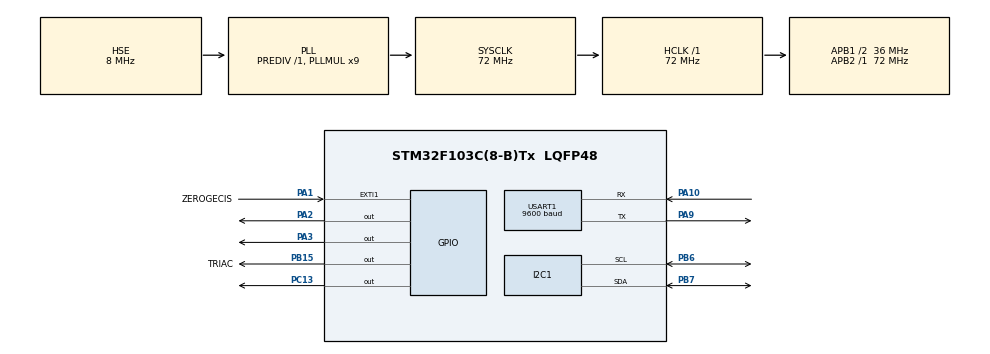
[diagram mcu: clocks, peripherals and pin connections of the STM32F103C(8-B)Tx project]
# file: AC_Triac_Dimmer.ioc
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Dma.Request0=USART1_RX
Dma.USART1_RX.0.Direction=DMA_PERIPH_TO_MEMORY
Dma.USART1_RX.0.Instance=DMA1_Channel5
Dma.USART1_RX.0.MemDataAlignment=DMA_MDATAALIGN_BYTE
Dma.USART1_RX.0.MemInc=DMA_MINC_ENABLE
Dma.USART1_RX.0.Mode=DMA_NORMAL
Dma.USART1_RX.0.PeriphDataAlignment=DMA_PDATAALIGN_BYTE
Dma.USART1_RX.0.PeriphInc=DMA_PINC_DISABLE
Dma.USART1_RX.0.Priority=DMA_PRIORITY_LOW
Mcu.Family=STM32F1
Mcu.Name=STM32F103C(8-B)Tx
Mcu.Package=LQFP48
NVIC.DMA1_Channel5_IRQn=true\:0\:0\:false\:false\:true\:false\:true\:true
NVIC.EXTI1_IRQn=true\:0\:0\:false\:false\:true\:true\:true\:true
NVIC.PriorityGroup=NVIC_PRIORITYGROUP_4
PA1.GPIO_Label=ZEROGECIS
PA1.Signal=GPXTI1
PA10.Mode=Asynchronous
PA10.Signal=USART1_RX
PA13.Mode=Serial_Wire
PA13.Signal=SYS_JTMS-SWDIO
PA14.Mode=Serial_Wire
PA14.Signal=SYS_JTCK-SWCLK
PA2.Signal=GPIO_Output
PA3.Signal=GPIO_Output
PA9.Mode=Asynchronous
PA9.Signal=USART1_TX
PB15.GPIO_Label=TRIAC
PB15.Signal=GPIO_Output
PB6.Mode=I2C
PB6.Signal=I2C1_SCL
PB7.Mode=I2C
PB7.Signal=I2C1_SDA
PC13-TAMPER-RTC.Signal=GPIO_Output
PD0-OSC_IN.Mode=HSE-External-Oscillator
PD0-OSC_IN.Signal=RCC_OSC_IN
PD1-OSC_OUT.Mode=HSE-External-Oscillator
PD1-OSC_OUT.Signal=RCC_OSC_OUT
ProjectManager.HeapSize=0x200
ProjectManager.StackSize=0x400
ProjectManager.TargetToolchain=STM32CubeIDE
RCC.AHBFreq_Value=72000000
RCC.APB1CLKDivider=RCC_HCLK_DIV2
RCC.APB1Freq_Value=36000000
RCC.APB1TimFreq_Value=72000000
RCC.APB2Freq_Value=72000000
RCC.APB2TimFreq_Value=72000000
RCC.HCLKFreq_Value=72000000
RCC.PLLMUL=RCC_PLL_MUL9
RCC.PLLSourceVirtual=RCC_PLLSOURCE_HSE
RCC.SYSCLKFreq_VALUE=72000000
RCC.SYSCLKSource=RCC_SYSCLKSOURCE_PLLCLK
RCC.USBFreq_Value=72000000
TIM1.Period=0xffff-1
TIM1.Prescaler=72-1
TIM2.Channel-Output\ Compare1\ No\ Output=TIM_CHANNEL_1
TIM2.Channel-Output\ Compare2\ No\ Output=TIM_CHANNEL_2
TIM2.Period=0xffff-1
TIM2.Prescaler=72-1
TIM2.Pulse-Output\ Compare1\ No\ Output=0
TIM2.Pulse-Output\ Compare2\ No\ Output=100
USART1.BaudRate=9600
USART1.VirtualMode=VM_ASYNC
VP_TIM1_VS_ClockSourceINT.Mode=Internal
VP_TIM1_VS_ClockSourceITR.Mode=TriggerSource_ITR0
VP_TIM2_VS_ClockSourceINT.Mode=Internal
VP_TIM2_VS_ClockSourceITR.Mode=TriggerSource_ITR2
VP_TIM2_VS_no_output1.Mode=Output Compare1 No Output
VP_TIM2_VS_no_output2.Mode=Output Compare2 No Output
board=custom

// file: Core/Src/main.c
/* USER CODE BEGIN Header */
/**
  ******************************************************************************
  * @file           : main.c
  * @brief          : Main program body
  ******************************************************************************
  * @attention
  *
  * Copyright (c) 2023 STMicroelectronics.
  * All rights reserved.
  *
  * This software is licensed under terms that can be found in the LICENSE file
  * in the root directory of this software component.
  * If no LICENSE file comes with this software, it is provided AS-IS.
  *
  ******************************************************************************
  */
/* USER CODE END Header */
#include "main.h"

/* USER CODE BEGIN Includes */
#include "stdio.h"
#include "string.h"
#include "BME280_STM32.h"
#include "pid.h"
/* USER CODE END Includes */

I2C_HandleTypeDef hi2c1;

TIM_HandleTypeDef htim1;
TIM_HandleTypeDef htim2;

UART_HandleTypeDef huart1;
DMA_HandleTypeDef hdma_usart1_rx;

/* USER CODE BEGIN PV */
uint32_t Value_Triac=500;
char Flag=0;

/* USER CODE END PV */

void SystemClock_Config(void);
static void MX_GPIO_Init(void);
static void MX_DMA_Init(void);
static void MX_TIM2_Init(void);
static void MX_I2C1_Init(void);
static void MX_USART1_UART_Init(void);
static void MX_TIM1_Init(void);

/* USER CODE BEGIN 0 */
void delay_us (uint16_t us)
{
	__HAL_TIM_SET_COUNTER(&htim1,0);  // set the counter value a 0
	while (__HAL_TIM_GET_COUNTER(&htim1) < us);  // wait for the counter to reach the us input in the parameter
}

void delay (uint16_t us)
{
	__HAL_TIM_SET_COUNTER(&htim2,0);  // set the counter value a 0
	while (__HAL_TIM_GET_COUNTER(&htim2) < us);  // wait for the counter to reach the us input in the parameter
}

PID_TypeDef TPID;

double Temp, PIDOut, TempSetpoint;

float Temperature, Pressure, Humidity;

uint8_t Cmd_End[3] = {0xFF,0xFF,0xFF};  // command end sequence
char MSG[40] = {0};
void NEXTION_SendString (char *ID, char *string)
{
	char buf[50];
	int len = sprintf (buf, "%s.txt=\"%s\"", ID, string);
	HAL_UART_Transmit(&huart1, (uint8_t *)buf, len, 1000);
	HAL_UART_Transmit(&huart1, Cmd_End, 3, 100);
}

uint8_t Rh_byte1, Rh_byte2, Temp_byte1, Temp_byte2;
uint16_t SUM, RH, TEMP;

float Temperature2 = 0;
float Humidity2 = 0;
uint8_t Presence = 0;

double secilen_Temp=25;
uint16_t deger2=9350;
uint16_t triacDeger=9400;
double art=0.1;
double art_1=1;
double art_5=5;

float yuzey_Sicaklik;
float ortam_Sicaklik;

float fark=0;

void Set_Pin_Output (GPIO_TypeDef *GPIOx, uint16_t GPIO_Pin)
{
	GPIO_InitTypeDef GPIO_InitStruct = {0};
	GPIO_InitStruct.Pin = GPIO_Pin;
	GPIO_InitStruct.Mode = GPIO_MODE_OUTPUT_PP;
	GPIO_InitStruct.Speed = GPIO_SPEED_FREQ_LOW;
	HAL_GPIO_Init(GPIOx, &GPIO_InitStruct);
}

void Set_Pin_Input (GPIO_TypeDef *GPIOx, uint16_t GPIO_Pin)
{
	GPIO_InitTypeDef GPIO_InitStruct = {0};
	GPIO_InitStruct.Pin = GPIO_Pin;
	GPIO_InitStruct.Mode = GPIO_MODE_INPUT;
	GPIO_InitStruct.Pull = GPIO_PULLUP;
	HAL_GPIO_Init(GPIOx, &GPIO_InitStruct);
}

/*********************************** DS18B20 FUNCTIONS ****************************************/

#define DS18B20_PORT GPIOA
#define DS18B20_PIN GPIO_PIN_3

uint8_t DS18B20_Start (void)
{
	uint8_t Response = 0;
	Set_Pin_Output(DS18B20_PORT, DS18B20_PIN);   // set the pin as output
	HAL_GPIO_WritePin (DS18B20_PORT, DS18B20_PIN, 0);  // pull the pin low
	delay (480);   // delay according to datasheet

	Set_Pin_Input(DS18B20_PORT, DS18B20_PIN);    // set the pin as input
	delay (80);    // delay according to datasheet

	if (!(HAL_GPIO_ReadPin (DS18B20_PORT, DS18B20_PIN))) Response = 1;    // if the pin is low i.e the presence pulse is detected
	else Response = -1;

	delay (400); // 480 us delay totally.

	return Response;
}

void DS18B20_Write (uint8_t data)
{
	Set_Pin_Output(DS18B20_PORT, DS18B20_PIN);  // set as output

	for (int i=0; i<8; i++)
	{

		if ((data & (1<<i))!=0)  // if the bit is high
		{
			// write 1

			Set_Pin_Output(DS18B20_PORT, DS18B20_PIN);  // set as output
			HAL_GPIO_WritePin (DS18B20_PORT, DS18B20_PIN, 0);  // pull the pin LOW
			delay (1);  // wait for 1 us

			Set_Pin_Input(DS18B20_PORT, DS18B20_PIN);  // set as input
			delay (50);  // wait for 60 us
		}

		else  // if the bit is low
		{
			// write 0

			Set_Pin_Output(DS18B20_PORT, DS18B20_PIN);
			HAL_GPIO_WritePin (DS18B20_PORT, DS18B20_PIN, 0);  // pull the pin LOW
			delay (50);  // wait for 60 us

			Set_Pin_Input(DS18B20_PORT, DS18B20_PIN);
		}
	}
}

uint8_t DS18B20_Read (void)
{
	uint8_t value=0;

	Set_Pin_Input(DS18B20_PORT, DS18B20_PIN);

	for (int i=0;i<8;i++)
	{
		Set_Pin_Output(DS18B20_PORT, DS18B20_PIN);   // set as output

		HAL_GPIO_WritePin (DS18B20_PORT, DS18B20_PIN, 0);  // pull the data pin LOW
		delay (1);  // wait for > 1us

		Set_Pin_Input(DS18B20_PORT, DS18B20_PIN);  // set as input
		if (HAL_GPIO_ReadPin (DS18B20_PORT, DS18B20_PIN))  // if the pin is HIGH
		{
			value |= 1<<i;  // read = 1
		}
		delay (50);  // wait for 60 us
	}
	return value;
}

uint8_t Rx_Data[5];

void verileri_oku(void)
{
	  //BME280_Measure();
	  	  HAL_Delay (20);

		  /********************* DS18B20 *******************/

		  	  Presence = DS18B20_Start ();
		  	  HAL_Delay (1);
		  	  DS18B20_Write (0xCC);  // skip ROM
		  	  DS18B20_Write (0x44);  // convert t
		  	  HAL_Delay (100);

		  	  Presence = DS18B20_Start ();
		        HAL_Delay(1);
		        DS18B20_Write (0xCC);  // skip ROM
		        DS18B20_Write (0xBE);  // Read Scratch-pad

		        Temp_byte1 = DS18B20_Read();
		  	  Temp_byte2 = DS18B20_Read();
		  	  TEMP = (Temp_byte2<<8)|Temp_byte1;
		  	  Temperature2 = (float)TEMP/16;
		  	HAL_Delay(50);
		  	  if(Temperature2<100)
		  	  {
		  		  yuzey_Sicaklik=Temperature2;
		  	  }
		  	  ortam_Sicaklik =Temperature;
		//  	deger = Temperature2;
		  	HAL_Delay(30);

			  	  sprintf(MSG,"%.3f C",yuzey_Sicaklik);
			  		 	  	 NEXTION_SendString("t0", MSG);

		  		 	  	 sprintf(MSG,"%.3f",secilen_Temp);
		  		 	     NEXTION_SendString("t1", MSG);
		  		 	  	 HAL_Delay(20);
}

void HAL_UART_RxCpltCallback(UART_HandleTypeDef *huart)
{

	  if (Rx_Data[2] == 0x09) secilen_Temp=secilen_Temp-art;
	  if (Rx_Data[2] == 0x0A)secilen_Temp=secilen_Temp+art;
	  if (Rx_Data[2] == 0x07) secilen_Temp=secilen_Temp-art_1;
	  if (Rx_Data[2] == 0x08)secilen_Temp=secilen_Temp+art_1;
	  if (Rx_Data[2] == 0x04) secilen_Temp=secilen_Temp-art_5;
	  if (Rx_Data[2] == 0x02)secilen_Temp=secilen_Temp+art_5;
	  if (Rx_Data[2] == 0x05) // if the dual state button is pressed
	  {
		  TempSetpoint = secilen_Temp;
	  }

	  HAL_UART_Receive_DMA(&huart1, Rx_Data, 5);

	//  verileri_oku();
  	  if(ortam_Sicaklik!=0)
	  	  {
		  	  sprintf(MSG,"%.3f C",Temperature2);
		  		 	  	 NEXTION_SendString("t0", MSG);
	  	  }

	  		 	  	 sprintf(MSG,"%.3f",secilen_Temp);
	  		 	     NEXTION_SendString("t1", MSG);

}

/* USER CODE END 0 */

int main(void)
{

  /* MCU Configuration--------------------------------------------------------*/

  /* Reset of all peripherals, Initializes the Flash interface and the Systick. */
  HAL_Init();

  /* Configure the system clock */
  SystemClock_Config();

  /* Initialize all configured peripherals */
  MX_GPIO_Init();
  MX_DMA_Init();
  MX_TIM2_Init();
  MX_I2C1_Init();
  MX_USART1_UART_Init();
  MX_TIM1_Init();
  /* USER CODE BEGIN 2 */
  HAL_TIM_Base_Start(&htim1);
  HAL_TIM_Base_Start(&htim2);
   HAL_UART_Receive_DMA(&huart1, Rx_Data, 5);

   BME280_Config(OSRS_2, OSRS_16, OSRS_1, MODE_NORMAL, T_SB_0p5, IIR_16);
	  HAL_Delay (200);
 // HAL_TIMEx_OCN_Start_IT(&htim2, HAL_TIM_ACTIVE_CHANNEL_1);
 // HAL_TIMEx_OCN_Start_IT(&htim2, HAL_TIM_ACTIVE_CHANNEL_2);

   // Your temp setpoint
     TempSetpoint = 25;

     PID(&TPID, &Temp, &PIDOut, &TempSetpoint, 144.55, 27.74, 502.12, _PID_P_ON_E, _PID_CD_DIRECT);// 144,55 27,74 kd 502.12
//PID(PID_TypeDef *uPID, double *Input, double *Output, double *Setpoint, double Kp, double Ki, double Kd, PIDPON_TypeDef POn, PIDCD_TypeDef ControllerDirection);

     PID_SetMode(&TPID, _PID_MODE_AUTOMATIC);
     PID_SetSampleTime(&TPID, 50);
     PID_SetOutputLimits(&TPID, 350, 8500);

  /* USER CODE END 2 */

  /* Infinite loop */
  while (1)
  {

    /* USER CODE BEGIN 3 */
	  verileri_oku();

	 Temp = yuzey_Sicaklik;

	  PID_Compute(&TPID);

	triacDeger =	deger2 - (uint16_t)PIDOut;
	  HAL_UART_Receive(&huart1, Rx_Data, 5, 1000);
  	  HAL_Delay (30);

	   }
  /* USER CODE END 3 */
}

void SystemClock_Config(void)
{
  RCC_OscInitTypeDef RCC_OscInitStruct = {0};
  RCC_ClkInitTypeDef RCC_ClkInitStruct = {0};

  /** Initializes the RCC Oscillators according to the specified parameters
  * in the RCC_OscInitTypeDef structure.
  */
  RCC_OscInitStruct.OscillatorType = RCC_OSCILLATORTYPE_HSE;
  RCC_OscInitStruct.HSEState = RCC_HSE_ON;
  RCC_OscInitStruct.HSEPredivValue = RCC_HSE_PREDIV_DIV1;
  RCC_OscInitStruct.HSIState = RCC_HSI_ON;
  RCC_OscInitStruct.PLL.PLLState = RCC_PLL_ON;
  RCC_OscInitStruct.PLL.PLLSource = RCC_PLLSOURCE_HSE;
  RCC_OscInitStruct.PLL.PLLMUL = RCC_PLL_MUL9;
  if (HAL_RCC_OscConfig(&RCC_OscInitStruct) != HAL_OK)
  {
    Error_Handler();
  }

  /** Initializes the CPU, AHB and APB buses clocks
  */
  RCC_ClkInitStruct.ClockType = RCC_CLOCKTYPE_HCLK|RCC_CLOCKTYPE_SYSCLK
                              |RCC_CLOCKTYPE_PCLK1|RCC_CLOCKTYPE_PCLK2;
  RCC_ClkInitStruct.SYSCLKSource = RCC_SYSCLKSOURCE_PLLCLK;
  RCC_ClkInitStruct.AHBCLKDivider = RCC_SYSCLK_DIV1;
  RCC_ClkInitStruct.APB1CLKDivider = RCC_HCLK_DIV2;
  RCC_ClkInitStruct.APB2CLKDivider = RCC_HCLK_DIV1;

  if (HAL_RCC_ClockConfig(&RCC_ClkInitStruct, FLASH_LATENCY_2) != HAL_OK)
  {
    Error_Handler();
  }
}

static void MX_I2C1_Init(void)
{

  hi2c1.Instance = I2C1;
  hi2c1.Init.ClockSpeed = 100000;
  hi2c1.Init.DutyCycle = I2C_DUTYCYCLE_2;
  hi2c1.Init.OwnAddress1 = 0;
  hi2c1.Init.AddressingMode = I2C_ADDRESSINGMODE_7BIT;
  hi2c1.Init.DualAddressMode = I2C_DUALADDRESS_DISABLE;
  hi2c1.Init.OwnAddress2 = 0;
  hi2c1.Init.GeneralCallMode = I2C_GENERALCALL_DISABLE;
  hi2c1.Init.NoStretchMode = I2C_NOSTRETCH_DISABLE;
  if (HAL_I2C_Init(&hi2c1) != HAL_OK)
  {
    Error_Handler();
  }

}

static void MX_TIM1_Init(void)
{

  TIM_ClockConfigTypeDef sClockSourceConfig = {0};
  TIM_SlaveConfigTypeDef sSlaveConfig = {0};
  TIM_MasterConfigTypeDef sMasterConfig = {0};

  htim1.Instance = TIM1;
  htim1.Init.Prescaler = 72-1;
  htim1.Init.CounterMode = TIM_COUNTERMODE_UP;
  htim1.Init.Period = 0xffff-1;
  htim1.Init.ClockDivision = TIM_CLOCKDIVISION_DIV1;
  htim1.Init.RepetitionCounter = 0;
  htim1.Init.AutoReloadPreload = TIM_AUTORELOAD_PRELOAD_DISABLE;
  if (HAL_TIM_Base_Init(&htim1) != HAL_OK)
  {
    Error_Handler();
  }
  sClockSourceConfig.ClockSource = TIM_CLOCKSOURCE_INTERNAL;
  if (HAL_TIM_ConfigClockSource(&htim1, &sClockSourceConfig) != HAL_OK)
  {
    Error_Handler();
  }
  sSlaveConfig.SlaveMode = TIM_SLAVEMODE_DISABLE;
  sSlaveConfig.InputTrigger = TIM_TS_ITR0;
  if (HAL_TIM_SlaveConfigSynchro(&htim1, &sSlaveConfig) != HAL_OK)
  {
    Error_Handler();
  }
  sMasterConfig.MasterOutputTrigger = TIM_TRGO_RESET;
  sMasterConfig.MasterSlaveMode = TIM_MASTERSLAVEMODE_DISABLE;
  if (HAL_TIMEx_MasterConfigSynchronization(&htim1, &sMasterConfig) != HAL_OK)
  {
    Error_Handler();
  }

}

static void MX_TIM2_Init(void)
{

  TIM_ClockConfigTypeDef sClockSourceConfig = {0};
  TIM_SlaveConfigTypeDef sSlaveConfig = {0};
  TIM_MasterConfigTypeDef sMasterConfig = {0};
  TIM_OC_InitTypeDef sConfigOC = {0};

  htim2.Instance = TIM2;
  htim2.Init.Prescaler = 72-1;
  htim2.Init.CounterMode = TIM_COUNTERMODE_UP;
  htim2.Init.Period = 0xffff-1;
  htim2.Init.ClockDivision = TIM_CLOCKDIVISION_DIV1;
  htim2.Init.AutoReloadPreload = TIM_AUTORELOAD_PRELOAD_DISABLE;
  if (HAL_TIM_Base_Init(&htim2) != HAL_OK)
  {
    Error_Handler();
  }
  sClockSourceConfig.ClockSource = TIM_CLOCKSOURCE_INTERNAL;
  if (HAL_TIM_ConfigClockSource(&htim2, &sClockSourceConfig) != HAL_OK)
  {
    Error_Handler();
  }
  if (HAL_TIM_OC_Init(&htim2) != HAL_OK)
  {
    Error_Handler();
  }
  sSlaveConfig.SlaveMode = TIM_SLAVEMODE_DISABLE;
  sSlaveConfig.InputTrigger = TIM_TS_ITR2;
  if (HAL_TIM_SlaveConfigSynchro(&htim2, &sSlaveConfig) != HAL_OK)
  {
    Error_Handler();
  }
  sMasterConfig.MasterOutputTrigger = TIM_TRGO_RESET;
  sMasterConfig.MasterSlaveMode = TIM_MASTERSLAVEMODE_DISABLE;
  if (HAL_TIMEx_MasterConfigSynchronization(&htim2, &sMasterConfig) != HAL_OK)
  {
    Error_Handler();
  }
  sConfigOC.OCMode = TIM_OCMODE_TIMING;
  sConfigOC.Pulse = 0;
  sConfigOC.OCPolarity = TIM_OCPOLARITY_HIGH;
  sConfigOC.OCFastMode = TIM_OCFAST_DISABLE;
  if (HAL_TIM_OC_ConfigChannel(&htim2, &sConfigOC, TIM_CHANNEL_1) != HAL_OK)
  {
    Error_Handler();
  }
  sConfigOC.Pulse = 100;
  if (HAL_TIM_OC_ConfigChannel(&htim2, &sConfigOC, TIM_CHANNEL_2) != HAL_OK)
  {
    Error_Handler();
  }

}

static void MX_USART1_UART_Init(void)
{

  huart1.Instance = USART1;
  huart1.Init.BaudRate = 9600;
  huart1.Init.WordLength = UART_WORDLENGTH_8B;
  huart1.Init.StopBits = UART_STOPBITS_1;
  huart1.Init.Parity = UART_PARITY_NONE;
  huart1.Init.Mode = UART_MODE_TX_RX;
  huart1.Init.HwFlowCtl = UART_HWCONTROL_NONE;
  huart1.Init.OverSampling = UART_OVERSAMPLING_16;
  if (HAL_UART_Init(&huart1) != HAL_OK)
  {
    Error_Handler();
  }

}

static void MX_DMA_Init(void)
{

  /* DMA controller clock enable */
  __HAL_RCC_DMA1_CLK_ENABLE();

  /* DMA interrupt init */
  /* DMA1_Channel5_IRQn interrupt configuration */
  HAL_NVIC_SetPriority(DMA1_Channel5_IRQn, 0, 0);
  HAL_NVIC_EnableIRQ(DMA1_Channel5_IRQn);

}

static void MX_GPIO_Init(void)
{
  GPIO_InitTypeDef GPIO_InitStruct = {0};

  /* GPIO Ports Clock Enable */
  __HAL_RCC_GPIOC_CLK_ENABLE();
  __HAL_RCC_GPIOD_CLK_ENABLE();
  __HAL_RCC_GPIOA_CLK_ENABLE();
  __HAL_RCC_GPIOB_CLK_ENABLE();

  /*Configure GPIO pin Output Level */
  HAL_GPIO_WritePin(GPIOC, GPIO_PIN_13, GPIO_PIN_RESET);

  /*Configure GPIO pin Output Level */
  HAL_GPIO_WritePin(GPIOA, GPIO_PIN_2|GPIO_PIN_3, GPIO_PIN_RESET);

  /*Configure GPIO pin Output Level */
  HAL_GPIO_WritePin(TRIAC_GPIO_Port, TRIAC_Pin, GPIO_PIN_RESET);

  /*Configure GPIO pin : PC13 */
  GPIO_InitStruct.Pin = GPIO_PIN_13;
  GPIO_InitStruct.Mode = GPIO_MODE_OUTPUT_PP;
  GPIO_InitStruct.Pull = GPIO_NOPULL;
  GPIO_InitStruct.Speed = GPIO_SPEED_FREQ_LOW;
  HAL_GPIO_Init(GPIOC, &GPIO_InitStruct);

  /*Configure GPIO pin : ZEROGECIS_Pin */
  GPIO_InitStruct.Pin = ZEROGECIS_Pin;
  GPIO_InitStruct.Mode = GPIO_MODE_IT_RISING;
  GPIO_InitStruct.Pull = GPIO_NOPULL;
  HAL_GPIO_Init(ZEROGECIS_GPIO_Port, &GPIO_InitStruct);

  /*Configure GPIO pins : PA2 PA3 */
  GPIO_InitStruct.Pin = GPIO_PIN_2|GPIO_PIN_3;
  GPIO_InitStruct.Mode = GPIO_MODE_OUTPUT_PP;
  GPIO_InitStruct.Pull = GPIO_NOPULL;
  GPIO_InitStruct.Speed = GPIO_SPEED_FREQ_LOW;
  HAL_GPIO_Init(GPIOA, &GPIO_InitStruct);

  /*Configure GPIO pin : TRIAC_Pin */
  GPIO_InitStruct.Pin = TRIAC_Pin;
  GPIO_InitStruct.Mode = GPIO_MODE_OUTPUT_PP;
  GPIO_InitStruct.Pull = GPIO_NOPULL;
  GPIO_InitStruct.Speed = GPIO_SPEED_FREQ_LOW;
  HAL_GPIO_Init(TRIAC_GPIO_Port, &GPIO_InitStruct);

  /* EXTI interrupt init*/
  HAL_NVIC_SetPriority(EXTI1_IRQn, 0, 0);
  HAL_NVIC_EnableIRQ(EXTI1_IRQn);

}

/* USER CODE BEGIN 4 */

void HAL_GPIO_EXTI_Callback(uint16_t GPIO_Pin)
{
if(GPIO_Pin == ZEROGECIS_Pin)
{
if(HAL_GPIO_ReadPin(ZEROGECIS_GPIO_Port, ZEROGECIS_Pin)==1)
{

	  delay_us(triacDeger);// alpha = 9500;
	 HAL_GPIO_WritePin(TRIAC_GPIO_Port, TRIAC_Pin, 1);//TRİAC 1
	  delay_us(50);
	 HAL_GPIO_WritePin(TRIAC_GPIO_Port, TRIAC_Pin, 0);//TRİAC 1
}

}
}

/* USER CODE END 4 */

void Error_Handler(void)
{
  __disable_irq();
  while (1)
  {
  }
}
